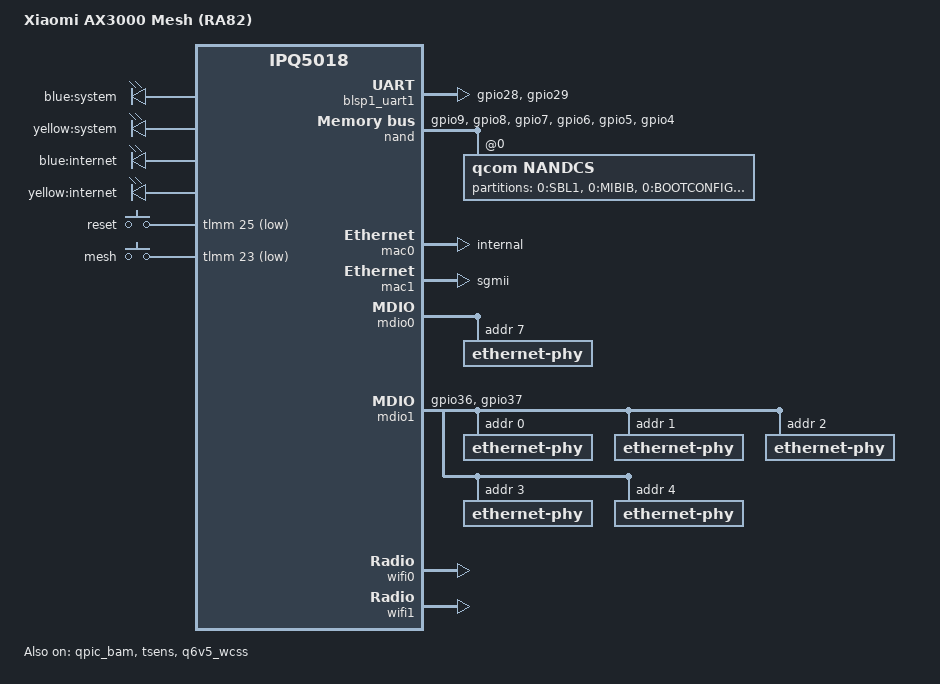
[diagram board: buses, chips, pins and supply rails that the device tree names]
// SPDX-License-Identifier: (GPL-2.0+)

/dts-v1/;

#include "ipq5018.dtsi"

/ {
	model = "Xiaomi AX3000 Mesh (RA82)";
	compatible = "xiaomi,ra82", "qcom,ipq5018";

	#address-cells = <2>;
	#size-cells = <2>;
	interrupt-parent = <&intc>;

	aliases {
		serial0 = &blsp1_uart1;

		ethernet0 = &mac0;
		ethernet1 = &mac1;

		led-boot = &led_system_blue;
		led-failsafe = &led_system_yellow;
		led-running = &led_system_blue;
		led-upgrade = &led_system_yellow;
	};

	chosen {
		// Override the root parameter from u-boot
		// Increase coherent_pool size for WiFi
		bootargs-append = " root=/dev/ubiblock0_1 coherent_pool=2M";
		stdout-path = "serial0:115200n8";
	};

	reserved-memory {
		q6_mem_regions: q6_mem_regions@4b000000 {
			no-map;
#ifndef CONFIG_ATH11K_MEM_PROFILE_256M
			reg = <0x0 0x4b000000 0x0 0x3b00000>;
#else
			reg = <0x0 0x4b000000 0x0 0x3000000>;
#endif
		};
	};

	thermal-zones {
		status = "ok";
	};
};

&tmc_etr {
	/delete-property/ memory-region;
};

&tlmm {
	blsp_uart0_pins: blsp_uart0_pins {
		pins =
			"gpio28", // RX
			"gpio29"; // TX
		function = "blsp0_uart1";
		drive-strength = <8>;
		bias-disable;
	};

	qspi_nand_pins: qspi_nand_pins {
		clock {
			pins = "gpio9";
			function = "qspi_clk";
			drive-strength = <8>;
			bias-disable;
		};

		cs {
			pins = "gpio8";
			function = "qspi_cs";
			drive-strength = <8>;
			bias-disable;
		};

		data {
			pins = "gpio7", "gpio6", "gpio5", "gpio4";
			function = "qspi_data";
			drive-strength = <8>;
			bias-disable;
		};
	};

	mdio1_pins: mdio1_pins {
		mdc {
			pins = "gpio36";
			function = "mdc";
			drive-strength = <8>;
			bias-pull-up;
		};

		mdio {
			pins = "gpio37";
			function = "mdio";
			drive-strength = <8>;
			bias-pull-up;
		};
	};

	leds_pins: leds_pins {
		led_system_blue {
			pins = "gpio19";
			function = "gpio";
			drive-strength = <8>;
			bias-pull-down;
		};

		led_system_yellow {
			pins = "gpio17";
			function = "gpio";
			drive-strength = <8>;
			bias-pull-down;
		};

		led_internet_blue {
			pins = "gpio22";
			function = "gpio";
			drive-strength = <8>;
			bias-pull-down;
		};

		led_internet_yellow {
			pins = "gpio20";
			function = "gpio";
			drive-strength = <8>;
			bias-pull-down;
		};
	};

	button_pins: button_pins {
		button_reset {
			pins = "gpio25";
			function = "gpio";
			drive-strength = <8>;
			bias-pull-up;
		};

		button_mesh {
			pins = "gpio23";
			function = "gpio";
			drive-strength = <8>;
			bias-pull-up;
		};
	};
};

&blsp1_uart1 {
	pinctrl-0 = <&blsp_uart0_pins>;
	pinctrl-names = "default";
	status = "ok";
};

&qpic_bam {
	status = "ok";
};

&nand {
	pinctrl-0 = <&qspi_nand_pins>;
	pinctrl-names = "default";
	status = "ok";

	nandcs@0 {
		#address-cells = <1>;
		#size-cells = <1>;
		compatible = "qcom,nandcs";
		nand-bus-width = <8>;
		nand-ecc-step-size = <512>;
		nand-ecc-strength = <4>;
		reg = <0>;

		partition@0 {
			label = "0:SBL1";
			reg = <0x0 0x80000>;
		};

		partition@80000 {
			label = "0:MIBIB";
			reg = <0x80000 0x80000>;
		};

		partition@100000 {
			label = "0:BOOTCONFIG";
			reg = <0x100000 0x40000>;
		};

		partition@140000 {
			label = "0:BOOTCONFIG1";
			reg = <0x140000 0x40000>;
		};

		partition@180000 {
			label = "0:QSEE";
			reg = <0x180000 0x100000>;
		};

		partition@280000 {
			label = "0:QSEE_1";
			reg = <0x280000 0x100000>;
		};

		partition@380000 {
			label = "0:DEVCFG";
			reg = <0x380000 0x40000>;
		};

		partition@3c0000 {
			label = "0:DEVCFG_1";
			reg = <0x3c0000 0x40000>;
		};

		partition@400000 {
			label = "0:CDT";
			reg = <0x400000 0x40000>;
		};

		partition@440000 {
			label = "0:CDT_1";
			reg = <0x440000 0x40000>;
		};

		partition@480000 {
			label = "0:APPSBLENV";
			reg = <0x480000 0x80000>;
		};

		partition@500000 {
			label = "0:APPSBL_1";
			reg = <0x500000 0x140000>;
		};

		partition@640000 {
			label = "0:APPSBL";
			reg = <0x640000 0x140000>;
		};

		partition@780000 {
			label = "0:ART";
			reg = <0x780000 0x100000>;
		};

		partition@880000 {
			label = "0:TRAINING";
			reg = <0x880000 0x80000>;
		};

		partition@900000 {
			label = "bdata";
			reg = <0x900000 0x80000>;
		};

		partition@980000 {
			label = "crash";
			reg = <0x980000 0x80000>;
		};

		partition@a00000 {
			label = "crash_syslog";
			reg = <0xa00000 0x80000>;
		};

		partition@a80000 {
			label = "rootfs";
			reg = <0xa80000 0x2400000>;
		};

		partition@2e80000 {
			label = "rootfs_1";
			reg = <0x2e80000 0x2400000>;
		};

		partition@5280000 {
			label = "overlay";
			reg = <0x5280000 0x1f00000>;
		};

		partition@7180000 {
			label = "rsvd0";
			reg = <0x7180000 0x80000>;
		};
	};
};

&tsens {
	status = "ok";
};

&soc {
	leds {
		compatible = "gpio-leds";
		pinctrl-0 = <&leds_pins>;
		pinctrl-names = "default";

		led_system_blue: led_system_blue {
			label = "blue:system";
			gpio = <&tlmm 19 GPIO_ACTIVE_HIGH>;
			default-state = "on";
		};

		led_system_yellow: led_system_yellow {
			label = "yellow:system";
			gpio = <&tlmm 17 GPIO_ACTIVE_HIGH>;
		};

		led_internet_blue: led_internet_blue {
			label = "blue:internet";
			gpio = <&tlmm 22 GPIO_ACTIVE_HIGH>;
		};

		led_internet_yellow: led_internet_yellow {
			label = "yellow:internet";
			gpio = <&tlmm 20 GPIO_ACTIVE_HIGH>;
		};
	};

	button {
		compatible = "gpio-keys";
		pinctrl-0 = <&button_pins>;
		pinctrl-names = "default";

		button_reset {
			label = "reset";
			gpios = <&tlmm 25 GPIO_ACTIVE_LOW>;
			linux,input-type = <EV_KEY>;
			linux,code = <KEY_RESTART>;
			debounce-interval = <60>;
		};

		button_mesh {
			label = "mesh";
			gpios = <&tlmm 23 GPIO_ACTIVE_LOW>;
			linux,input-type = <EV_KEY>;
			linux,code = <KEY_WPS_BUTTON>;
			debounce-interval = <60>;
		};
	};

	ess-instance {
		num_devices = <2>;

		ess-switch@0x39c00000 {
			compatible = "qcom,ess-switch-ipq50xx";
			device_id = <0>;
			cmnblk_clk = "internal_96MHz";
			switch_mac_mode = <0xf>; // PORT_WRAPPER_SGMII_CHANNEL0

			qcom,port_phyinfo {
				port@0 {
					port_id = <1>;
					mdiobus = <&mdio0>;
					phy_address = <7>;
					phy_dac = <0x10 0x10>;
				};

				port@1 {
					port_id = <2>;
					forced-speed = <1000>;
					forced-duplex = <1>;
				};
			};
		};

		// QCA8337 Switch
		ess-switch1@1 {
			compatible = "qcom,ess-switch-qca83xx";
			device_id = <1>;

			// This is critical: Stock firmware uses GPIO 26 for reset
			reset_gpio = <26>;

			switch_access_mode = "mdio";
			mdio-bus = <&mdio1>;

			qca,ar8327-initvals = <
				0x000c 0x00000080  // PAD6_MODE = MAC6_SGMII_EN
				0x0010 0x002613a0  // PWS_REG = DEFAULT_VALUE | SERDES_AEN
				0x0094 0x000010ce  // PORT6_STATUS
				0x00e0 0xc74164de  // SGMII_CTRL
			>;

			switch_cpu_bmp = <0x60>;  // CPU port bitmap: 5 6
			switch_lan_bmp = <0x0e>;  // LAN port bitmap: 1 2 3
			switch_wan_bmp = <0x10>;  // WAN port bitmap: 4

			qcom,port_phyinfo {
				port@1 { port_id = <1>; phy_address = <0>; }; // LAN1
				port@2 { port_id = <2>; phy_address = <1>; }; // LAN2
				port@3 { port_id = <3>; phy_address = <2>; }; // LAN3
				port@4 { port_id = <4>; phy_address = <3>; }; // WAN
				port@5 { port_id = <5>; phy_address = <4>; }; // IPQ5000 GE Phy
				port@6 {
					port_id = <6>;
					forced-speed = <1000>;
					forced-duplex = <1>;
				};
			};
		};
	};

	mac0: dp1 {
		compatible = "qcom,nss-dp";
		device_type = "network";
		qcom,id = <1>;
		reg = <0x39C00000 0x10000>;
		interrupts = <GIC_SPI 101 IRQ_TYPE_LEVEL_HIGH>;
		clocks = <&gcc GCC_SNOC_GMAC0_AXI_CLK>;
		clock-names = "nss-snoc-gmac-axi-clk";
		qcom,mactype = <2>;
		local-mac-address = [000000000000];
		mdio-bus = <&mdio0>;
		qcom,phy-mdio-addr = <7>;
		phy-mode = "internal";
		qcom,link-poll = <1>;
	};

	mac1: dp2 {
		compatible = "qcom,nss-dp";
		device_type = "network";
		qcom,id = <2>;
		reg = <0x39D00000 0x10000>;
		interrupts = <GIC_SPI 109 IRQ_TYPE_LEVEL_HIGH>;
		clocks = <&gcc GCC_SNOC_GMAC1_AXI_CLK>;
		clock-names = "nss-snoc-gmac-axi-clk";
		qcom,mactype = <2>;
		local-mac-address = [000000000000];
		phy-mode = "sgmii";
	};
};

&mdio0 {
	status = "ok";
	ethernet-phy@0 {
		reg = <7>;
	};
};

&mdio1 {
	pinctrl-0 = <&mdio1_pins>;
	pinctrl-names = "default";
	// Critical fix: Corrected PHY Reset GPIO to 26
	phy-reset-gpio = <&tlmm 26 0>;
	status = "ok";

	ethernet-phy@0 { reg = <0>; };
	ethernet-phy@1 { reg = <1>; };
	ethernet-phy@2 { reg = <2>; };
	ethernet-phy@3 { reg = <3>; };
	ethernet-phy@4 { reg = <4>; };
};

&q6v5_wcss {
	compatible = "qcom,ipq5018-q6-mpd";
	#address-cells = <1>;
	#size-cells = <1>;
	ranges;
	resets = <&gcc GCC_WCSSAON_RESET>, <&gcc GCC_WCSS_Q6_BCR>;
	reset-names = "wcss_aon_reset", "wcss_q6_reset";
	clocks = <&gcc GCC_Q6_AXIS_CLK>, <&gcc GCC_WCSS_ECAHB_CLK>, <&gcc GCC_Q6_AXIM_CLK>, <&gcc GCC_Q6_AXIM2_CLK>, <&gcc GCC_Q6_AHB_CLK>, <&gcc GCC_Q6_AHB_S_CLK>, <&gcc GCC_WCSS_AXI_S_CLK>;
	clock-names = "gcc_q6_axis_clk", "gcc_wcss_ecahb_clk", "gcc_q6_axim_clk", "gcc_q6_axim2_clk", "gcc_q6_ahb_clk", "gcc_q6_ahb_s_clk", "gcc_wcss_axi_s_clk";
	reg = <0x0cd00000 0x4040>, <0x1938000 0x8>, <0x193d204 0x4>;
	reg-names = "qdsp6", "tcsr-msip", "tcsr-q6";
	memory-region = <&q6_mem_regions>;
	qcom,rproc = <&q6v5_wcss>;
	firmware = "IPQ5018/q6_fw.mdt";
	qcom,bootargs_smem = <507>;
	boot-args = </* type: */ 2 /* PCIE1 */ /* length: */ 4 /* PD id: */ 2 /* reset GPIO: */ 27 /* reserved: */ 0 0>;
	status = "ok";

	q6_wcss_pd1: remoteproc_pd1@4ab000 {
		compatible = "qcom,ipq5018-wcss-ahb-mpd";
		resets = <&gcc GCC_WCSSAON_RESET>, <&gcc GCC_WCSS_BCR>, <&gcc GCC_CE_BCR>;
		reset-names = "wcss_aon_reset", "wcss_reset", "ce_reset";
		clocks = <&gcc GCC_WCSS_AHB_S_CLK>, <&gcc GCC_WCSS_ACMT_CLK>, <&gcc GCC_WCSS_AXI_M_CLK>;
		clock-names = "gcc_wcss_ahb_s_clk", "gcc_wcss_acmt_clk", "gcc_wcss_axi_m_clk";
		reg = <0x4ab000 0x20>;
		reg-names = "rmb";
		qcom,halt-regs = <&tcsr_q6_block 0xa000 0xd000 0x0>;
		interrupts-extended = <&wcss_smp2p_in 8 0>, <&wcss_smp2p_in 9 0>, <&wcss_smp2p_in 12 0>, <&wcss_smp2p_in 11 0>;
		interrupt-names = "fatal", "ready", "spawn-ack", "stop-ack";
		qcom,smem-states = <&wcss_smp2p_out 8>, <&wcss_smp2p_out 9>, <&wcss_smp2p_out 10>;
		qcom,smem-state-names = "shutdown", "stop", "spawn";
		firmware = "IPQ5018/q6_fw.mdt";
		m3_firmware = "IPQ5018/m3_fw.mdt";
	};

	q6_wcss_pd2: remoteproc_pd2 {
		compatible = "qcom,ipq5018-wcss-pcie-mpd";
		interrupts-extended = <&wcss_smp2p_in 16 0>, <&wcss_smp2p_in 17 0>, <&wcss_smp2p_in 20 0>, <&wcss_smp2p_in 19 0>;
		interrupt-names = "fatal", "ready", "spawn-ack", "stop-ack";
		qcom,smem-states = <&wcss_smp2p_out 16>, <&wcss_smp2p_out 17>, <&wcss_smp2p_out 18>;
		qcom,smem-state-names = "shutdown", "stop", "spawn";
		firmware = "IPQ5018/q6_fw.mdt";
		m3_firmware = "qcn6122/m3_fw.mdt";
	};
};

&wifi0 {
	// IPQ5000
	qcom,multipd_arch;
	qcom,rproc = <&q6_wcss_pd1>;
	qcom,userpd-subsys-name = "q6v5_wcss_userpd1";
	qcom,board_id = <0x24>;
	qcom,bdf-addr = <0x4c400000 0x4c400000 0x4c400000>;
	qcom,caldb-addr = <0x4d200000 0x4d200000 0>;
#ifndef CONFIG_ATH11K_MEM_PROFILE_256M
	m3-dump-addr = <0x4d400000>;
#else
	m3-dump-addr = <0>;
#endif
	status = "ok";
};

&wifi1 {
	// QCN6102
	qcom,multipd_arch;
	qcom,rproc = <&q6_wcss_pd2>;
	qcom,userpd-subsys-name = "q6v5_wcss_userpd2";
	qcom,board_id = <0x60>;
	qcom,bdf-addr = <0x4d500000 0x4d500000 0x4d100000>;
	qcom,caldb-addr = <0x4e500000 0x4e500000 0>;
#ifndef CONFIG_ATH11K_MEM_PROFILE_256M
	m3-dump-addr = <0x4ea00000>;
#else
	m3-dump-addr = <0x4df00000>;
#endif
	status = "ok";
};
